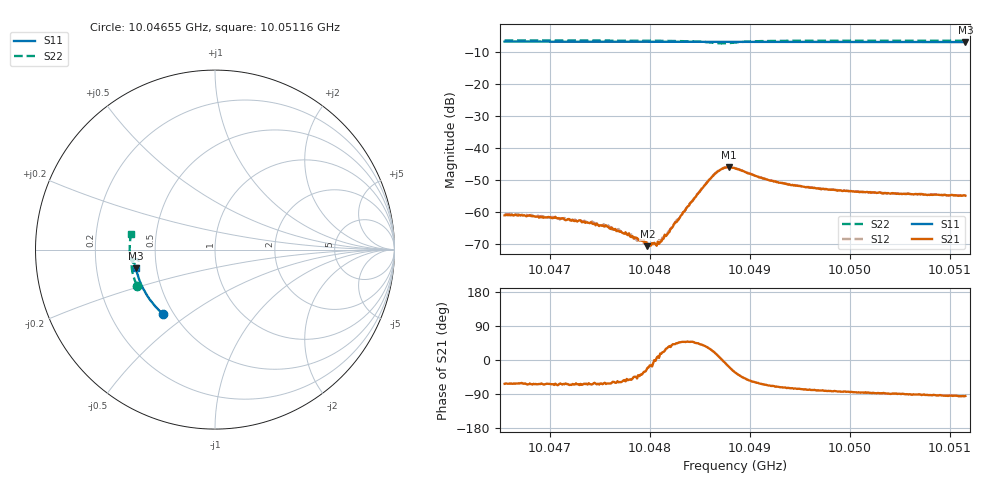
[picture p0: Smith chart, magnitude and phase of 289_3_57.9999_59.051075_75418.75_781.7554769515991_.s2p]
#  HZ  S  RI  R  50.00
! Rohde & Schwarz Vector Network Analyzer
! Rohde-Schwarz,ZNB20-2Port,1311601062101988,3.16
! Created: UTC 3/21/2024, 1:03:13 AM
! freq[Hz]  re:S11  im:S11  re:S21  im:S21  re:S12  im:S12  re:S22  im:S22
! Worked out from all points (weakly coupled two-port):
!   401 points, 10.04655 GHz to 10.05116 GHz, reference 50 ohm
!   highest |S21| = -45.95 dB at 10.04879 GHz (marker M1); lowest = -70.6 dB at 10.04798 GHz (marker M2)
!   lowest |S11| = -6.9 dB at 10.05116 GHz (marker M3), VSWR 2.65, Z = 19.1 - j4.96 ohm
!   |S11| at or under -10 dB: nowhere
!   |S22| runs from -7.3 to -6.4 dB; largest |S21 - S12| = 0.00034
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1.0046549e10  -0.2884 -0.3597  0.000409 -0.000795  0.000483 -0.000803  -0.4353 -0.2016
1.0046814e10  -0.3014 -0.3479  0.000384 -0.00078  0.000462 -0.000778  -0.442 -0.1849
1.0047321e10  -0.3254 -0.3243  0.00029 -0.000635  0.000355 -0.000638  -0.4533 -0.1521
1.0047562e10  -0.3361 -0.3124  0.000281 -0.000558  0.000332 -0.000501  -0.4577 -0.1358
1.0047666e10  -0.3405 -0.3072  0.000253 -0.000439  0.0003 -0.000461  -0.4594 -0.1284
1.0047816e10  -0.3469 -0.2995  0.00025 -0.000323  0.000299 -0.000335  -0.4614 -0.1177
1.0047862e10  -0.3488 -0.2972  0.000288 -0.000279  0.000296 -0.000235  -0.4621 -0.1142
1.0047919e10  -0.3512 -0.2943  0.000281 -0.000226  0.000305 -0.000191  -0.4626 -0.1099
1.0047977e10  -0.3536 -0.2912  0.000276 -0.000104  0.00032 -0.0001  -0.4632 -0.1054
1.0048058e10  -0.3568 -0.2871  0.000318 -1.18e-05  0.000315 1.57e-05  -0.4636 -0.099
1.0048092e10  -0.3581 -0.2851  0.000318 3.15e-05  0.000355 9.16e-05  -0.4639 -0.0962
1.0048161e10  -0.361 -0.2816  0.000368 0.000209  0.00037 0.000221  -0.4641 -0.0906
1.0048472e10  -0.3726 -0.2646  0.00134 0.0013  0.00129 0.00141  -0.4566 -0.0613
1.0048622e10  -0.3779 -0.2563  0.00323 0.00151  0.00313 0.0017  -0.439 -0.0523
1.0048714e10  -0.3807 -0.2513  0.00467 0.00024  0.0047 0.000533  -0.4275 -0.0608
1.0048795e10  -0.3836 -0.247  0.00477 -0.00165  0.00485 -0.00136  -0.4302 -0.0739
1.0048852e10  -0.3856 -0.2439  0.00409 -0.00262  0.00429 -0.00235  -0.4382 -0.0785
1.0049187e10  -0.3966 -0.2248  0.00123 -0.00294  0.00143 -0.00289  -0.4675 -0.0558
1.0049394e10  -0.4029 -0.2126  0.000761 -0.00262  0.000886 -0.00258  -0.4726 -0.0384
1.0049624e10  -0.4094 -0.1989  0.000459 -0.00237  0.000605 -0.00234  -0.4747 -0.0207
1.0050396e10  -0.428 -0.1516  4.26e-05 -0.00196  0.000148 -0.00197  -0.4746 0.0339
1.0051156e10  -0.4407 -0.1036  -0.000156 -0.0018  -9.18e-05 -0.00182  -0.4678 0.0847
